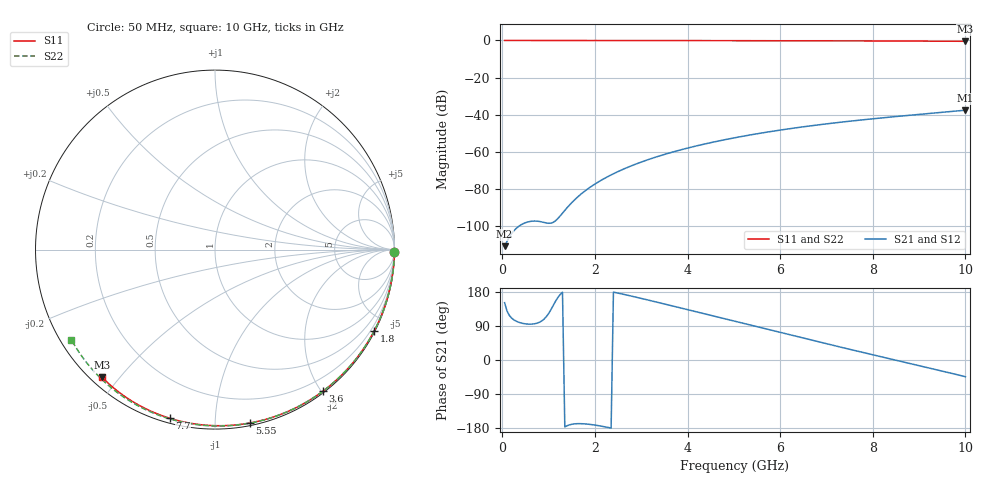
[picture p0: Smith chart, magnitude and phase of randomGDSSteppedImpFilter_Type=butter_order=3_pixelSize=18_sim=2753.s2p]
! freq	dB(S11)	phase(S11)	dB(S12)	phase(S12)
!  dB(S21)	phase(S21)	dB(S22)	phase(S22)
!S-par simulation data
#  GHz  S  DB  R 50
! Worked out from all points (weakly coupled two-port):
!   200 points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, 50 MHz to 10 GHz, reference 50 ohm
!   highest |S21| = -37.49 dB at 10 GHz (marker M1); lowest = -110.6 dB at 50 MHz (marker M2)
!   lowest |S11| = -0.4 dB at 10 GHz (marker M3), VSWR 38.87, Z = 1.55 - j22.6 ohm
!   |S11| at or under -10 dB: nowhere
!   |S22| runs from -0.5 to 0.0 dB; largest |S21 - S12| = 0
!   S11 on the Smith chart (normalised r, x): 50 MHz: open; 1.8 GHz: 0.04, -4.17; 3.6 GHz: 0.02, -2.02; 5.55 GHz: 0.02, -1.22; 7.7 GHz: 0.02, -0.77; 10 GHz: 0.03, -0.45
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0.05  -0.00 -0.8  -110.59 151.2  -110.59 151.2  -0.00 -0.9
0.45  -0.01 -6.8  -98.50 96.4  -98.50 96.4  -0.01 -7.7
0.9  -0.02 -13.6  -97.82 107.7  -97.82 107.7  -0.02 -15.3
1.75  -0.03 -26.2  -81.59 -168.3  -81.59 -168.3  -0.04 -29.4
1.8  -0.03 -26.9  -80.62 -168.7  -80.62 -168.7  -0.04 -30.2
1.85  -0.04 -27.7  -79.71 -169.3  -79.71 -169.3  -0.04 -31.1
2  -0.04 -29.9  -77.19 -171.7  -77.19 -171.7  -0.04 -33.5
2.15  -0.04 -32.1  -74.94 -174.8  -74.94 -174.8  -0.05 -36.0
2.35  -0.04 -35.0  -72.27 -179.6  -72.27 -179.6  -0.05 -39.2
2.55  -0.05 -37.8  -69.90 175.2  -69.90 175.2  -0.05 -42.5
2.95  -0.06 -43.6  -65.83 164.0  -65.83 164.0  -0.06 -48.8
3.4  -0.07 -49.9  -62.03 150.8  -62.03 150.8  -0.07 -55.9
3.6  -0.07 -52.7  -60.54 144.9  -60.54 144.9  -0.08 -59.0
4.3  -0.09 -62.3  -56.06 123.8  -56.06 123.8  -0.10 -69.7
5.05  -0.11 -72.2  -52.16 101.2  -52.16 101.2  -0.12 -80.7
5.55  -0.13 -78.7  -49.96 86.2  -49.96 86.2  -0.14 -87.9
6.1  -0.15 -85.6  -47.81 69.7  -47.81 69.7  -0.17 -95.7
6.7  -0.18 -93.1  -45.76 51.8  -45.76 51.8  -0.20 -104.0
7.7  -0.24 -105.1  -42.88 22.4  -42.88 22.4  -0.27 -117.5
8.35  -0.29 -112.6  -41.25 3.7  -41.25 3.7  -0.32 -126.1
9.2  -0.36 -122.4  -39.29 -20.5  -39.29 -20.5  -0.41 -137.3
10  -0.45 -131.4  -37.49 -44.1  -37.49 -44.1  -0.50 -147.9
